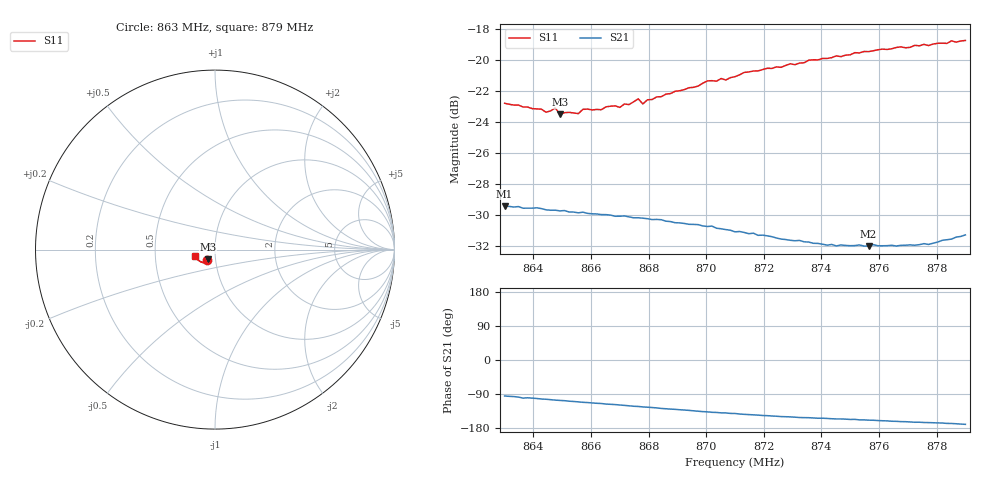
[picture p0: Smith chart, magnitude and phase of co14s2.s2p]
# HZ S RI R 50
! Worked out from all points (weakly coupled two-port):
!   101 points, 863 MHz to 879 MHz, reference 50 ohm
!   highest |S21| = -29.43 dB at 863 MHz (marker M1); lowest = -32.0 dB at 875.64 MHz (marker M2)
!   lowest |S11| = -23.5 dB at 864.92 MHz (marker M3), VSWR 1.14, Z = 46.1 - j5.06 ohm
!   |S11| at or under -10 dB: start of sweep to end of sweep
!   S12 and S22 are empty: the file has one direction only
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8.63e8  -0.0458 -0.0562  -0.00291 -0.0337  0 0  0 0
8.6428e8  -0.0405 -0.0564  -0.00749 -0.0323  0 0  0 0
8.6444e8  -0.0398 -0.055  -0.0077 -0.0319  0 0  0 0
8.6476e8  -0.0406 -0.0572  -0.00895 -0.0315  0 0  0 0
8.6492e8  -0.0382 -0.0547  -0.00935 -0.0312  0 0  0 0
8.6556e8  -0.0366 -0.0563  -0.0113 -0.0301  0 0  0 0
8.6572e8  -0.0368 -0.0588  -0.0119 -0.03  0 0  0 0
8.67e8  -0.0355 -0.0607  -0.0151 -0.0275  0 0  0 0
8.6764e8  -0.0376 -0.0649  -0.0167 -0.0261  0 0  0 0
8.678e8  -0.0366 -0.0622  -0.0172 -0.0257  0 0  0 0
8.6796e8  -0.0362 -0.065  -0.0174 -0.0253  0 0  0 0
8.6844e8  -0.0376 -0.0663  -0.0187 -0.0241  0 0  0 0
8.6972e8  -0.0435 -0.0701  -0.0209 -0.0207  0 0  0 0
8.7004e8  -0.0452 -0.0728  -0.0211 -0.0199  0 0  0 0
8.7068e8  -0.0475 -0.072  -0.0216 -0.0183  0 0  0 0
8.71e8  -0.0507 -0.0725  -0.0217 -0.0175  0 0  0 0
8.7132e8  -0.0531 -0.0743  -0.0223 -0.0165  0 0  0 0
8.7372e8  -0.0696 -0.0721  -0.0228 -0.0116  0 0  0 0
8.7564e8  -0.085 -0.0642  -0.0234 -0.00909  0 0  0 0
8.7644e8  -0.0908 -0.06  -0.0239 -0.00796  0 0  0 0
8.7772e8  -0.0993 -0.0506  -0.0245 -0.0065  0 0  0 0
8.79e8  -0.1095 -0.0375  -0.0268 -0.00484  0 0  0 0
